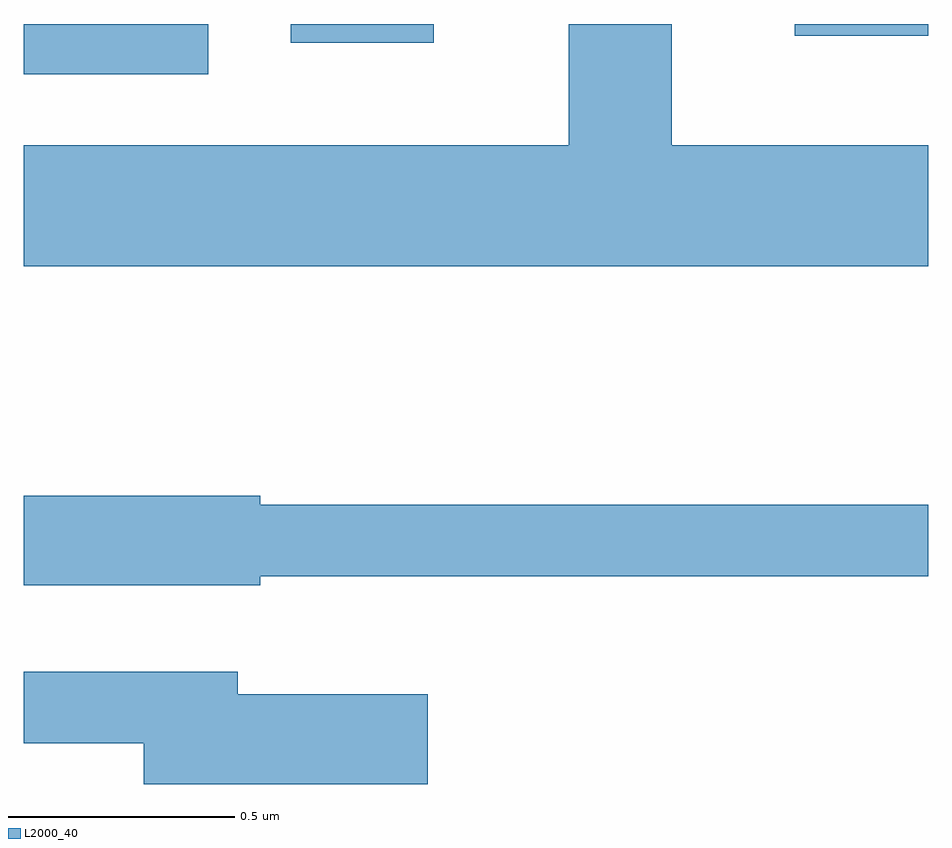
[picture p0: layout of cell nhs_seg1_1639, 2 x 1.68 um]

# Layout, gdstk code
import gdstk
lib = gdstk.Library(unit=1e-6, precision=1e-09)
def R(c, l, rs):  # rectangles x0, y0, x1, y1
    for r in rs: c.add(gdstk.rectangle(r[:2], r[2:], *l))
def P(c, l, *ps):  # polygons
    for p in ps: c.add(gdstk.Polygon(p, *l))
L2000_40 = (2000, 40)

nhs_seg1_1639 = lib.new_cell('nhs_seg1_1639')
R(nhs_seg1_1639, L2000_40, [(197.611,855.601,198.019,855.712), (198.201,855.671,198.518,855.712), (199.316,855.686,199.611,855.712)])
P(nhs_seg1_1639, L2000_40, [(199.611,855.444),(199.044,855.444),(199.044,855.712),(198.816,855.712),(198.816,855.444),(197.611,855.444),(197.611,855.176),(199.611,855.176)],
  [(198.134,854.491),(199.611,854.491),(199.611,854.649),(198.134,854.649),(198.134,854.669),(197.611,854.669),(197.611,854.471),(198.134,854.471)],
  [(198.504,854.229),(198.084,854.229),(198.084,854.279),(197.611,854.279),(197.611,854.121),(197.876,854.121),(197.876,854.031),(198.504,854.031)])

lib.write_gds('nhs_seg1_1639.gds')
